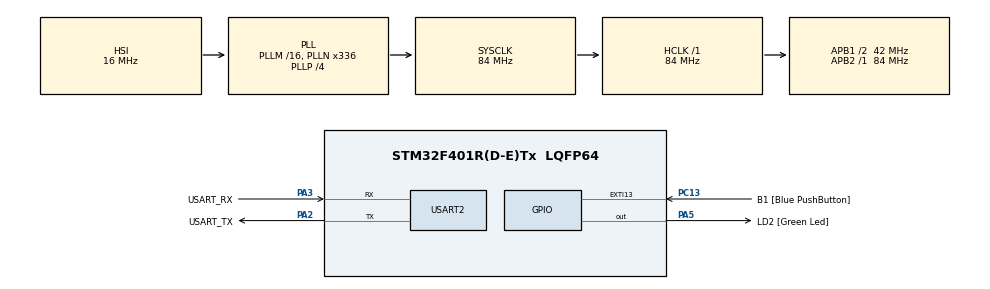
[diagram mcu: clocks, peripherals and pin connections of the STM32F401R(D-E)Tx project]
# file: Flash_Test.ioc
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Mcu.Family=STM32F4
Mcu.Name=STM32F401R(D-E)Tx
Mcu.Package=LQFP64
NVIC.PriorityGroup=NVIC_PRIORITYGROUP_0
PA13.GPIO_Label=TMS
PA13.Mode=Serial_Wire
PA13.Signal=SYS_JTMS-SWDIO
PA14.GPIO_Label=TCK
PA14.Mode=Serial_Wire
PA14.Signal=SYS_JTCK-SWCLK
PA2.GPIO_Label=USART_TX
PA2.GPIO_Mode=GPIO_MODE_AF_PP
PA2.GPIO_PuPd=GPIO_NOPULL
PA2.GPIO_Speed=GPIO_SPEED_FREQ_LOW
PA2.Mode=Asynchronous
PA2.Signal=USART2_TX
PA3.GPIO_Label=USART_RX
PA3.GPIO_Mode=GPIO_MODE_AF_PP
PA3.GPIO_PuPd=GPIO_NOPULL
PA3.GPIO_Speed=GPIO_SPEED_FREQ_LOW
PA3.Mode=Asynchronous
PA3.Signal=USART2_RX
PA5.GPIO_Label=LD2 [Green Led]
PA5.GPIO_Mode=GPIO_MODE_OUTPUT_PP
PA5.GPIO_PuPd=GPIO_NOPULL
PA5.GPIO_Speed=GPIO_SPEED_FREQ_LOW
PA5.Signal=GPIO_Output
PB3.GPIO_Label=SWO
PB3.Signal=SYS_JTDO-SWO
PC13-ANTI_TAMP.GPIO_Label=B1 [Blue PushButton]
PC13-ANTI_TAMP.GPIO_ModeDefaultEXTI=GPIO_MODE_IT_FALLING
PC13-ANTI_TAMP.GPIO_PuPd=GPIO_NOPULL
PC13-ANTI_TAMP.Signal=GPXTI13
PC14-OSC32_IN.Mode=LSE-External-Oscillator
PC14-OSC32_IN.Signal=RCC_OSC32_IN
PC15-OSC32_OUT.Mode=LSE-External-Oscillator
PC15-OSC32_OUT.Signal=RCC_OSC32_OUT
PH0\ -\ OSC_IN.Mode=HSE-External-Clock-Source
PH0\ -\ OSC_IN.Signal=RCC_OSC_IN
PH1\ -\ OSC_OUT.Mode=HSE-External-Clock-Source
PH1\ -\ OSC_OUT.Signal=RCC_OSC_OUT
ProjectManager.HeapSize=0x200
ProjectManager.StackSize=0x400
ProjectManager.TargetToolchain=STM32CubeIDE
RCC.48MHZClocksFreq_Value=48000000
RCC.AHBFreq_Value=84000000
RCC.APB1CLKDivider=RCC_HCLK_DIV2
RCC.APB1Freq_Value=42000000
RCC.APB1TimFreq_Value=84000000
RCC.APB2Freq_Value=84000000
RCC.APB2TimFreq_Value=84000000
RCC.CortexFreq_Value=84000000
RCC.HCLKFreq_Value=84000000
RCC.HSE_VALUE=8000000
RCC.HSI_VALUE=16000000
RCC.PLLN=336
RCC.PLLP=RCC_PLLP_DIV4
RCC.PLLQ=7
RCC.SYSCLKFreq_VALUE=84000000
RCC.SYSCLKSource=RCC_SYSCLKSOURCE_PLLCLK
RCC.VCOOutputFreq_Value=336000000
USART2.VirtualMode=VM_ASYNC
VP_CRC_VS_CRC.Mode=CRC_Activate
board=NUCLEO-F401RE

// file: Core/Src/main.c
/* USER CODE BEGIN Header */
/**
  ******************************************************************************
  * @file           : main.c
  * @brief          : Main program body
  ******************************************************************************
  * @attention
  *
  * Copyright (c) 2024 STMicroelectronics.
  * All rights reserved.
  *
  * This software is licensed under terms that can be found in the LICENSE file
  * in the root directory of this software component.
  * If no LICENSE file comes with this software, it is provided AS-IS.
  *
  ******************************************************************************
  */
/* USER CODE END Header */
#include "main.h"

/* USER CODE BEGIN Includes */
#include <stdio.h>
/* USER CODE END Includes */

CRC_HandleTypeDef hcrc;

UART_HandleTypeDef huart2;

void SystemClock_Config(void);
static void MX_GPIO_Init(void);
static void MX_USART2_UART_Init(void);
static void MX_CRC_Init(void);
/* USER CODE BEGIN PFP */
uint32_t Crc32(uint32_t Crc, uint32_t Data);
/* USER CODE END PFP */

/* USER CODE BEGIN 0 */
#ifdef BUFFER_SIZE_0x4000
#define BUFFER_SIZE	(0x4000 - 4)/4
#else
#define BUFFER_SIZE	(0x8000 - 4)/4
#endif

__IO uint32_t uwCRCValue = 0;
__IO uint32_t myCRCValue1 = 0xFFFFFFFF;

const uint32_t *myDataBuffer;
/* USER CODE END 0 */

int main(void)
{

  /* USER CODE BEGIN 1 */
	  uint16_t myDataBufferCount = BUFFER_SIZE;
	  myDataBuffer = (uint32_t*) 0x08000000;
  /* USER CODE END 1 */

  /* MCU Configuration--------------------------------------------------------*/

  /* Reset of all peripherals, Initializes the Flash interface and the Systick. */
  HAL_Init();

  /* Configure the system clock */
  SystemClock_Config();

  /* Initialize all configured peripherals */
  MX_GPIO_Init();
  MX_USART2_UART_Init();
  MX_CRC_Init();
  /* USER CODE BEGIN 2 */
  printf("\n\rCRC TEST\n\r");
  /*##-1- Compute the CRC by STM32 CRC peripheral ###################################*/
  	uwCRCValue = HAL_CRC_Calculate(&hcrc, (uint32_t *)0x08000000, BUFFER_SIZE);
//    uwCRCValue = HAL_CRC_Accumulate(&hcrc, (uint32_t *)0x08000000, BUFFER_SIZE);
    //uwCRCValue = MY_HAL_CRC_Calculate(&hcrc, (uint8_t *)0x08000000, BUFFER_SIZE_BYTE);

    /*##-2- Compute the CRC of "myDataBuffer" by Crc32 SW Code###################################*/

    while (myDataBufferCount--)
    {
      myCRCValue1 = Crc32(myCRCValue1, *myDataBuffer++);
    }

    printf("\n\n\r========================================Display Final Result========================================\n\r");
    printf("uwCRCValue generated by STM32 CRC Unit Calculate= 0x%08X\n\r",(unsigned int) uwCRCValue);	//shut compiling warning up
//    printf("uwCRCValue generated by STM32 CRC Unit Accumulate= 0x%08X\n\r",(unsigned int) uwCRCValue);	//shut compiling warning up
    printf("myCRCValue1 generated by Crc32 SW code= 0x%08X\n\r",(unsigned int) myCRCValue1);	//shut compiling warning up

  #ifdef BUFFER_SIZE_0x4000
    if (uwCRCValue == *(uint32_t*)0x08003FFC)
  #else
    if (uwCRCValue == *(uint32_t*)0x08007FFC)
  #endif
    {
      printf("CRC Check: OK...\n\r");
    }
    else
    {
      printf("CRC Check: Fail...\n\r");
    }
    printf("\tChecksum generated by STM32 CRC Unit= 0x%08X\n\r",(unsigned int) uwCRCValue);

  #ifdef BUFFER_SIZE_0x4000
    printf("\tChecksum stored at address 0x08003FFC= 0x%08X\n\r",*(uint32_t*)0x08003FFC);
  #else
    printf("\tChecksum stored at address 0x08007FFC= 0x%08X\n\r",*(unsigned int*)0x08007FFC);
  #endif
  /* USER CODE END 2 */

  /* Infinite loop */
  while (1)
  {

  }
}

void SystemClock_Config(void)
{
  RCC_OscInitTypeDef RCC_OscInitStruct = {0};
  RCC_ClkInitTypeDef RCC_ClkInitStruct = {0};

  /** Configure the main internal regulator output voltage
  */
  __HAL_RCC_PWR_CLK_ENABLE();
  __HAL_PWR_VOLTAGESCALING_CONFIG(PWR_REGULATOR_VOLTAGE_SCALE2);

  /** Initializes the RCC Oscillators according to the specified parameters
  * in the RCC_OscInitTypeDef structure.
  */
  RCC_OscInitStruct.OscillatorType = RCC_OSCILLATORTYPE_HSI;
  RCC_OscInitStruct.HSIState = RCC_HSI_ON;
  RCC_OscInitStruct.HSICalibrationValue = RCC_HSICALIBRATION_DEFAULT;
  RCC_OscInitStruct.PLL.PLLState = RCC_PLL_ON;
  RCC_OscInitStruct.PLL.PLLSource = RCC_PLLSOURCE_HSI;
  RCC_OscInitStruct.PLL.PLLM = 16;
  RCC_OscInitStruct.PLL.PLLN = 336;
  RCC_OscInitStruct.PLL.PLLP = RCC_PLLP_DIV4;
  RCC_OscInitStruct.PLL.PLLQ = 7;
  if (HAL_RCC_OscConfig(&RCC_OscInitStruct) != HAL_OK)
  {
    Error_Handler();
  }

  /** Initializes the CPU, AHB and APB buses clocks
  */
  RCC_ClkInitStruct.ClockType = RCC_CLOCKTYPE_HCLK|RCC_CLOCKTYPE_SYSCLK
                              |RCC_CLOCKTYPE_PCLK1|RCC_CLOCKTYPE_PCLK2;
  RCC_ClkInitStruct.SYSCLKSource = RCC_SYSCLKSOURCE_PLLCLK;
  RCC_ClkInitStruct.AHBCLKDivider = RCC_SYSCLK_DIV1;
  RCC_ClkInitStruct.APB1CLKDivider = RCC_HCLK_DIV2;
  RCC_ClkInitStruct.APB2CLKDivider = RCC_HCLK_DIV1;

  if (HAL_RCC_ClockConfig(&RCC_ClkInitStruct, FLASH_LATENCY_2) != HAL_OK)
  {
    Error_Handler();
  }
}

static void MX_CRC_Init(void)
{

  hcrc.Instance = CRC;
  if (HAL_CRC_Init(&hcrc) != HAL_OK)
  {
    Error_Handler();
  }

}

static void MX_USART2_UART_Init(void)
{

  huart2.Instance = USART2;
  huart2.Init.BaudRate = 115200;
  huart2.Init.WordLength = UART_WORDLENGTH_8B;
  huart2.Init.StopBits = UART_STOPBITS_1;
  huart2.Init.Parity = UART_PARITY_NONE;
  huart2.Init.Mode = UART_MODE_TX_RX;
  huart2.Init.HwFlowCtl = UART_HWCONTROL_NONE;
  huart2.Init.OverSampling = UART_OVERSAMPLING_16;
  if (HAL_UART_Init(&huart2) != HAL_OK)
  {
    Error_Handler();
  }

}

static void MX_GPIO_Init(void)
{
  GPIO_InitTypeDef GPIO_InitStruct = {0};

  /* GPIO Ports Clock Enable */
  __HAL_RCC_GPIOC_CLK_ENABLE();
  __HAL_RCC_GPIOH_CLK_ENABLE();
  __HAL_RCC_GPIOA_CLK_ENABLE();
  __HAL_RCC_GPIOB_CLK_ENABLE();

  /*Configure GPIO pin Output Level */
  HAL_GPIO_WritePin(LD2_GPIO_Port, LD2_Pin, GPIO_PIN_RESET);

  /*Configure GPIO pin : B1_Pin */
  GPIO_InitStruct.Pin = B1_Pin;
  GPIO_InitStruct.Mode = GPIO_MODE_IT_FALLING;
  GPIO_InitStruct.Pull = GPIO_NOPULL;
  HAL_GPIO_Init(B1_GPIO_Port, &GPIO_InitStruct);

  /*Configure GPIO pin : LD2_Pin */
  GPIO_InitStruct.Pin = LD2_Pin;
  GPIO_InitStruct.Mode = GPIO_MODE_OUTPUT_PP;
  GPIO_InitStruct.Pull = GPIO_NOPULL;
  GPIO_InitStruct.Speed = GPIO_SPEED_FREQ_LOW;
  HAL_GPIO_Init(LD2_GPIO_Port, &GPIO_InitStruct);

}

/* USER CODE BEGIN 4 */
int __io_putchar(int ch)
{
  HAL_UART_Transmit(&huart2, (uint8_t *)&ch, 1, 0xFFFF);
  return ch;
}

uint32_t Crc32(uint32_t Crc, uint32_t Data)
{
  uint8_t index;

  uint32_t result_crc = 0;

  result_crc = Crc ^ Data;

	  for(index=0; index<32; index++)
	  {

		if (result_crc & 0x80000000){
			result_crc = (result_crc << 1) ^ 0x04C11DB7; // Polynomial used in STM32
		}else{
			result_crc = (result_crc << 1);
		}
	  }

  return result_crc;
}

/* USER CODE END 4 */

void Error_Handler(void)
{
  __disable_irq();
  while (1)
  {
  }
}
